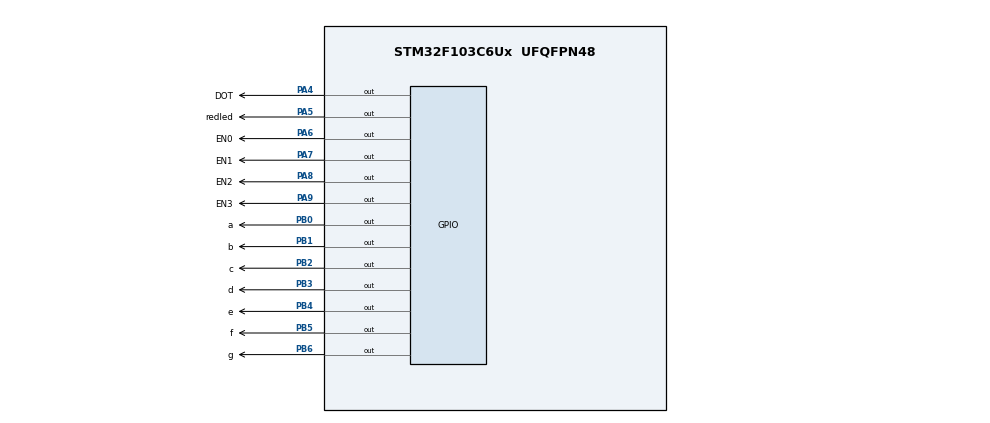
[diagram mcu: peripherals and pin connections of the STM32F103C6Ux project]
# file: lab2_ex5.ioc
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Mcu.Family=STM32F1
Mcu.Name=STM32F103C6Ux
Mcu.Package=UFQFPN48
NVIC.PriorityGroup=NVIC_PRIORITYGROUP_4
NVIC.TIM2_IRQn=true\:0\:0\:false\:false\:true\:true\:true
PA4.GPIO_Label=DOT
PA4.Signal=GPIO_Output
PA5.GPIO_Label=redled
PA5.Signal=GPIO_Output
PA6.GPIO_Label=EN0
PA6.Signal=GPIO_Output
PA7.GPIO_Label=EN1
PA7.Signal=GPIO_Output
PA8.GPIO_Label=EN2
PA8.Signal=GPIO_Output
PA9.GPIO_Label=EN3
PA9.Signal=GPIO_Output
PB0.GPIO_Label=a
PB0.Signal=GPIO_Output
PB1.GPIO_Label=b
PB1.Signal=GPIO_Output
PB2.GPIO_Label=c
PB2.Signal=GPIO_Output
PB3.GPIO_Label=d
PB3.Signal=GPIO_Output
PB4.GPIO_Label=e
PB4.Signal=GPIO_Output
PB5.GPIO_Label=f
PB5.Signal=GPIO_Output
PB6.GPIO_Label=g
PB6.Signal=GPIO_Output
ProjectManager.HeapSize=0x200
ProjectManager.StackSize=0x400
ProjectManager.TargetToolchain=STM32CubeIDE
RCC.APB1Freq_Value=8000000
RCC.APB2Freq_Value=8000000
TIM2.Prescaler=7999
VP_SYS_VS_ND.Mode=No_Debug
VP_TIM2_VS_ClockSourceINT.Mode=Internal
board=custom

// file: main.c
/* USER CODE BEGIN Header */
/**
  ******************************************************************************
  * @file           : main.c
  * @brief          : Main program body
  ******************************************************************************
  * @attention
  *
  * <h2><center>&copy; Copyright (c) 2025 STMicroelectronics.
  * All rights reserved.</center></h2>
  *
  * This software component is licensed by ST under BSD 3-Clause license,
  * the "License"; You may not use this file except in compliance with the
  * License. You may obtain a copy of the License at:
  *                        opensource.org/licenses/BSD-3-Clause
  *
  ******************************************************************************
  */
/* USER CODE END Header */
#include "main.h"

/* USER CODE BEGIN Includes */
#include "software_timer.h"
/* USER CODE END Includes */

TIM_HandleTypeDef htim2;

void SystemClock_Config(void);
static void MX_GPIO_Init(void);
static void MX_TIM2_Init(void);

int main(void)
{

  /* MCU Configuration--------------------------------------------------------*/

  /* Reset of all peripherals, Initializes the Flash interface and the Systick. */
  HAL_Init();

  /* USER CODE BEGIN Init */
  void display7SEG(int num) {
       switch (num) {
       case 0:
           HAL_GPIO_WritePin(a_GPIO_Port, a_Pin, GPIO_PIN_RESET);
           HAL_GPIO_WritePin(b_GPIO_Port, b_Pin, GPIO_PIN_RESET);
           HAL_GPIO_WritePin(c_GPIO_Port, c_Pin, GPIO_PIN_RESET);
           HAL_GPIO_WritePin(d_GPIO_Port, d_Pin, GPIO_PIN_RESET);
           HAL_GPIO_WritePin(e_GPIO_Port, e_Pin, GPIO_PIN_RESET);
           HAL_GPIO_WritePin(f_GPIO_Port, f_Pin, GPIO_PIN_RESET);
           HAL_GPIO_WritePin(g_GPIO_Port, g_Pin, GPIO_PIN_SET);
           break;
       case 1:
           HAL_GPIO_WritePin(a_GPIO_Port, a_Pin, GPIO_PIN_SET);
           HAL_GPIO_WritePin(b_GPIO_Port, b_Pin, GPIO_PIN_RESET);
           HAL_GPIO_WritePin(c_GPIO_Port, c_Pin, GPIO_PIN_RESET);
           HAL_GPIO_WritePin(d_GPIO_Port, d_Pin, GPIO_PIN_SET);
           HAL_GPIO_WritePin(e_GPIO_Port, e_Pin, GPIO_PIN_SET);
           HAL_GPIO_WritePin(f_GPIO_Port, f_Pin, GPIO_PIN_SET);
           HAL_GPIO_WritePin(g_GPIO_Port, g_Pin, GPIO_PIN_SET);
           break;
       case 2:
           HAL_GPIO_WritePin(a_GPIO_Port, a_Pin, GPIO_PIN_RESET);
           HAL_GPIO_WritePin(b_GPIO_Port, b_Pin, GPIO_PIN_RESET);
           HAL_GPIO_WritePin(c_GPIO_Port, c_Pin, GPIO_PIN_SET);
           HAL_GPIO_WritePin(d_GPIO_Port, d_Pin, GPIO_PIN_RESET);
           HAL_GPIO_WritePin(e_GPIO_Port, e_Pin, GPIO_PIN_RESET);
           HAL_GPIO_WritePin(f_GPIO_Port, f_Pin, GPIO_PIN_SET);
           HAL_GPIO_WritePin(g_GPIO_Port, g_Pin, GPIO_PIN_RESET);
           break;
       case 3:
           HAL_GPIO_WritePin(a_GPIO_Port, a_Pin, GPIO_PIN_RESET);
           HAL_GPIO_WritePin(b_GPIO_Port, b_Pin, GPIO_PIN_RESET);
           HAL_GPIO_WritePin(c_GPIO_Port, c_Pin, GPIO_PIN_RESET);
           HAL_GPIO_WritePin(d_GPIO_Port, d_Pin, GPIO_PIN_RESET);
           HAL_GPIO_WritePin(e_GPIO_Port, e_Pin, GPIO_PIN_SET);
           HAL_GPIO_WritePin(f_GPIO_Port, f_Pin, GPIO_PIN_SET);
           HAL_GPIO_WritePin(g_GPIO_Port, g_Pin, GPIO_PIN_RESET);
           break;
       case 4:
           HAL_GPIO_WritePin(a_GPIO_Port, a_Pin, GPIO_PIN_SET);
           HAL_GPIO_WritePin(b_GPIO_Port, b_Pin, GPIO_PIN_RESET);
           HAL_GPIO_WritePin(c_GPIO_Port, c_Pin, GPIO_PIN_RESET);
           HAL_GPIO_WritePin(d_GPIO_Port, d_Pin, GPIO_PIN_SET);
           HAL_GPIO_WritePin(e_GPIO_Port, e_Pin, GPIO_PIN_SET);
           HAL_GPIO_WritePin(f_GPIO_Port, f_Pin, GPIO_PIN_RESET);
           HAL_GPIO_WritePin(g_GPIO_Port, g_Pin, GPIO_PIN_RESET);
           break;
       case 5:
           HAL_GPIO_WritePin(a_GPIO_Port, a_Pin, GPIO_PIN_RESET);
           HAL_GPIO_WritePin(b_GPIO_Port, b_Pin, GPIO_PIN_SET);
           HAL_GPIO_WritePin(c_GPIO_Port, c_Pin, GPIO_PIN_RESET);
           HAL_GPIO_WritePin(d_GPIO_Port, d_Pin, GPIO_PIN_RESET);
           HAL_GPIO_WritePin(e_GPIO_Port, e_Pin, GPIO_PIN_SET);
           HAL_GPIO_WritePin(f_GPIO_Port, f_Pin, GPIO_PIN_RESET);
           HAL_GPIO_WritePin(g_GPIO_Port, g_Pin, GPIO_PIN_RESET);
           break;
       case 6:
           HAL_GPIO_WritePin(a_GPIO_Port, a_Pin, GPIO_PIN_RESET);
           HAL_GPIO_WritePin(b_GPIO_Port, b_Pin, GPIO_PIN_SET);
           HAL_GPIO_WritePin(c_GPIO_Port, c_Pin, GPIO_PIN_RESET);
           HAL_GPIO_WritePin(d_GPIO_Port, d_Pin, GPIO_PIN_RESET);
           HAL_GPIO_WritePin(e_GPIO_Port, e_Pin, GPIO_PIN_RESET);
           HAL_GPIO_WritePin(f_GPIO_Port, f_Pin, GPIO_PIN_RESET);
           HAL_GPIO_WritePin(g_GPIO_Port, g_Pin, GPIO_PIN_RESET);
           break;
       case 7:
           HAL_GPIO_WritePin(a_GPIO_Port, a_Pin, GPIO_PIN_RESET);
           HAL_GPIO_WritePin(b_GPIO_Port, b_Pin, GPIO_PIN_RESET);
           HAL_GPIO_WritePin(c_GPIO_Port, c_Pin, GPIO_PIN_RESET);
           HAL_GPIO_WritePin(d_GPIO_Port, d_Pin, GPIO_PIN_SET);
           HAL_GPIO_WritePin(e_GPIO_Port, e_Pin, GPIO_PIN_SET);
           HAL_GPIO_WritePin(f_GPIO_Port, f_Pin, GPIO_PIN_SET);
           HAL_GPIO_WritePin(g_GPIO_Port, g_Pin, GPIO_PIN_SET);
           break;
       case 8:
           HAL_GPIO_WritePin(a_GPIO_Port, a_Pin, GPIO_PIN_RESET);
           HAL_GPIO_WritePin(b_GPIO_Port, b_Pin, GPIO_PIN_RESET);
           HAL_GPIO_WritePin(c_GPIO_Port, c_Pin, GPIO_PIN_RESET);
           HAL_GPIO_WritePin(d_GPIO_Port, d_Pin, GPIO_PIN_RESET);
           HAL_GPIO_WritePin(e_GPIO_Port, e_Pin, GPIO_PIN_RESET);
           HAL_GPIO_WritePin(f_GPIO_Port, f_Pin, GPIO_PIN_RESET);
           HAL_GPIO_WritePin(g_GPIO_Port, g_Pin, GPIO_PIN_RESET);
           break;
       case 9:
           HAL_GPIO_WritePin(a_GPIO_Port, a_Pin, GPIO_PIN_RESET);
           HAL_GPIO_WritePin(b_GPIO_Port, b_Pin, GPIO_PIN_RESET);
           HAL_GPIO_WritePin(c_GPIO_Port, c_Pin, GPIO_PIN_RESET);
           HAL_GPIO_WritePin(d_GPIO_Port, d_Pin, GPIO_PIN_RESET);
           HAL_GPIO_WritePin(e_GPIO_Port, e_Pin, GPIO_PIN_SET);
           HAL_GPIO_WritePin(f_GPIO_Port, f_Pin, GPIO_PIN_RESET);
           HAL_GPIO_WritePin(g_GPIO_Port, g_Pin, GPIO_PIN_RESET);
           break;
       default:
           HAL_GPIO_WritePin(a_GPIO_Port, a_Pin, GPIO_PIN_SET);
           HAL_GPIO_WritePin(b_GPIO_Port, b_Pin, GPIO_PIN_SET);
           HAL_GPIO_WritePin(c_GPIO_Port, c_Pin, GPIO_PIN_SET);
           HAL_GPIO_WritePin(d_GPIO_Port, d_Pin, GPIO_PIN_SET);
           HAL_GPIO_WritePin(e_GPIO_Port, e_Pin, GPIO_PIN_SET);
           HAL_GPIO_WritePin(f_GPIO_Port, f_Pin, GPIO_PIN_SET);
           HAL_GPIO_WritePin(g_GPIO_Port, g_Pin, GPIO_PIN_SET);
           break;
       }
  }

  const int MAX_LED = 4;
     int index_led = 0;
     int led_buffer[4] = {1, 2, 3, 4};
  void update7SEG(int index) {
   HAL_GPIO_WritePin(EN0_GPIO_Port, EN0_Pin, GPIO_PIN_SET);
       HAL_GPIO_WritePin(EN1_GPIO_Port, EN1_Pin, GPIO_PIN_SET);
       HAL_GPIO_WritePin(EN2_GPIO_Port, EN2_Pin, GPIO_PIN_SET);
       HAL_GPIO_WritePin(EN3_GPIO_Port, EN3_Pin, GPIO_PIN_SET);
   switch (index) {
   case 0:
          HAL_GPIO_WritePin(EN0_GPIO_Port, EN0_Pin, GPIO_PIN_RESET);
          display7SEG(led_buffer[0]);
          break;
      case 1:
          HAL_GPIO_WritePin(EN1_GPIO_Port, EN1_Pin, GPIO_PIN_RESET);
          display7SEG(led_buffer[1]);
          break;
      case 2:
          HAL_GPIO_WritePin(EN2_GPIO_Port, EN2_Pin, GPIO_PIN_RESET);
          display7SEG(led_buffer[2]);
          break;
      case 3:
          HAL_GPIO_WritePin(EN3_GPIO_Port, EN3_Pin, GPIO_PIN_RESET);
          display7SEG(led_buffer[3]);
          break;
      default:
          break;
   }
  }

  void updateClockBuffer(int hour, int minute) {
    led_buffer[0] = hour / 10;
    led_buffer[1] = hour % 10;

    led_buffer[2] = minute / 10;
    led_buffer[3] = minute % 10;
  }
  /* USER CODE END Init */

  /* Configure the system clock */
  SystemClock_Config();

  /* Initialize all configured peripherals */
  MX_GPIO_Init();
  MX_TIM2_Init();
  /* USER CODE BEGIN 2 */
  HAL_TIM_Base_Start_IT (& htim2 );
  /* USER CODE END 2 */

  /* Infinite loop */
  /* USER CODE BEGIN WHILE */
 int hour = 3, minute = 59, second = 58;
 updateClockBuffer(hour, minute);
   setTimer1(100);
   setTimer2(25);
   setTimer3(100);

  while (1)
  {
    /* USER CODE END WHILE */
	  if ( timer1_flag == 1 ) {
	  	HAL_GPIO_TogglePin(redled_GPIO_Port, redled_Pin);
	  		HAL_GPIO_TogglePin(DOT_GPIO_Port, DOT_Pin);
	  		setTimer1(100);
	  }

	  if ( timer2_flag == 1) {
	  	update7SEG(index_led);
	  	index_led++;
	  	if (index_led >= MAX_LED) index_led = 0;
	  	setTimer2(25);
	  }

	  if ( timer3_flag == 1) {
		  second++;
		  if(second >= 60) {
		         second = 0;
		         minute++;
		     }
		     if(minute >= 60) {
		         minute = 0;
		         hour++;
		     }
		     if(hour >= 24) {
		         hour = 0;
		     }

		     updateClockBuffer(hour, minute);
		     setTimer3(100);
	  }
  }
}

void SystemClock_Config(void)
{
  RCC_OscInitTypeDef RCC_OscInitStruct = {0};
  RCC_ClkInitTypeDef RCC_ClkInitStruct = {0};

  /** Initializes the RCC Oscillators according to the specified parameters
  * in the RCC_OscInitTypeDef structure.
  */
  RCC_OscInitStruct.OscillatorType = RCC_OSCILLATORTYPE_HSI;
  RCC_OscInitStruct.HSIState = RCC_HSI_ON;
  RCC_OscInitStruct.HSICalibrationValue = RCC_HSICALIBRATION_DEFAULT;
  RCC_OscInitStruct.PLL.PLLState = RCC_PLL_NONE;
  if (HAL_RCC_OscConfig(&RCC_OscInitStruct) != HAL_OK)
  {
    Error_Handler();
  }
  /** Initializes the CPU, AHB and APB buses clocks
  */
  RCC_ClkInitStruct.ClockType = RCC_CLOCKTYPE_HCLK|RCC_CLOCKTYPE_SYSCLK
                              |RCC_CLOCKTYPE_PCLK1|RCC_CLOCKTYPE_PCLK2;
  RCC_ClkInitStruct.SYSCLKSource = RCC_SYSCLKSOURCE_HSI;
  RCC_ClkInitStruct.AHBCLKDivider = RCC_SYSCLK_DIV1;
  RCC_ClkInitStruct.APB1CLKDivider = RCC_HCLK_DIV1;
  RCC_ClkInitStruct.APB2CLKDivider = RCC_HCLK_DIV1;

  if (HAL_RCC_ClockConfig(&RCC_ClkInitStruct, FLASH_LATENCY_0) != HAL_OK)
  {
    Error_Handler();
  }
}

static void MX_TIM2_Init(void)
{

  TIM_ClockConfigTypeDef sClockSourceConfig = {0};
  TIM_MasterConfigTypeDef sMasterConfig = {0};

  htim2.Instance = TIM2;
  htim2.Init.Prescaler = 7999;
  htim2.Init.CounterMode = TIM_COUNTERMODE_UP;
  htim2.Init.Period = 9;
  htim2.Init.ClockDivision = TIM_CLOCKDIVISION_DIV1;
  htim2.Init.AutoReloadPreload = TIM_AUTORELOAD_PRELOAD_DISABLE;
  if (HAL_TIM_Base_Init(&htim2) != HAL_OK)
  {
    Error_Handler();
  }
  sClockSourceConfig.ClockSource = TIM_CLOCKSOURCE_INTERNAL;
  if (HAL_TIM_ConfigClockSource(&htim2, &sClockSourceConfig) != HAL_OK)
  {
    Error_Handler();
  }
  sMasterConfig.MasterOutputTrigger = TIM_TRGO_RESET;
  sMasterConfig.MasterSlaveMode = TIM_MASTERSLAVEMODE_DISABLE;
  if (HAL_TIMEx_MasterConfigSynchronization(&htim2, &sMasterConfig) != HAL_OK)
  {
    Error_Handler();
  }

}

static void MX_GPIO_Init(void)
{
  GPIO_InitTypeDef GPIO_InitStruct = {0};

  /* GPIO Ports Clock Enable */
  __HAL_RCC_GPIOA_CLK_ENABLE();
  __HAL_RCC_GPIOB_CLK_ENABLE();

  /*Configure GPIO pin Output Level */
  HAL_GPIO_WritePin(GPIOA, DOT_Pin|redled_Pin|EN0_Pin|EN1_Pin
                          |EN2_Pin|EN3_Pin, GPIO_PIN_RESET);

  /*Configure GPIO pin Output Level */
  HAL_GPIO_WritePin(GPIOB, a_Pin|b_Pin|c_Pin|d_Pin
                          |e_Pin|f_Pin|g_Pin, GPIO_PIN_RESET);

  /*Configure GPIO pins : DOT_Pin redled_Pin EN0_Pin EN1_Pin
                           EN2_Pin EN3_Pin */
  GPIO_InitStruct.Pin = DOT_Pin|redled_Pin|EN0_Pin|EN1_Pin
                          |EN2_Pin|EN3_Pin;
  GPIO_InitStruct.Mode = GPIO_MODE_OUTPUT_PP;
  GPIO_InitStruct.Pull = GPIO_NOPULL;
  GPIO_InitStruct.Speed = GPIO_SPEED_FREQ_LOW;
  HAL_GPIO_Init(GPIOA, &GPIO_InitStruct);

  /*Configure GPIO pins : a_Pin b_Pin c_Pin d_Pin
                           e_Pin f_Pin g_Pin */
  GPIO_InitStruct.Pin = a_Pin|b_Pin|c_Pin|d_Pin
                          |e_Pin|f_Pin|g_Pin;
  GPIO_InitStruct.Mode = GPIO_MODE_OUTPUT_PP;
  GPIO_InitStruct.Pull = GPIO_NOPULL;
  GPIO_InitStruct.Speed = GPIO_SPEED_FREQ_LOW;
  HAL_GPIO_Init(GPIOB, &GPIO_InitStruct);

}

/* USER CODE BEGIN 4 */
void HAL_TIM_PeriodElapsedCallback(TIM_HandleTypeDef *htim) {
	timerRun();
}
/* USER CODE END 4 */

void Error_Handler(void)
{
  __disable_irq();
  while (1)
  {
  }
}

/************************ (C) COPYRIGHT STMicroelectronics *****END OF FILE****/
